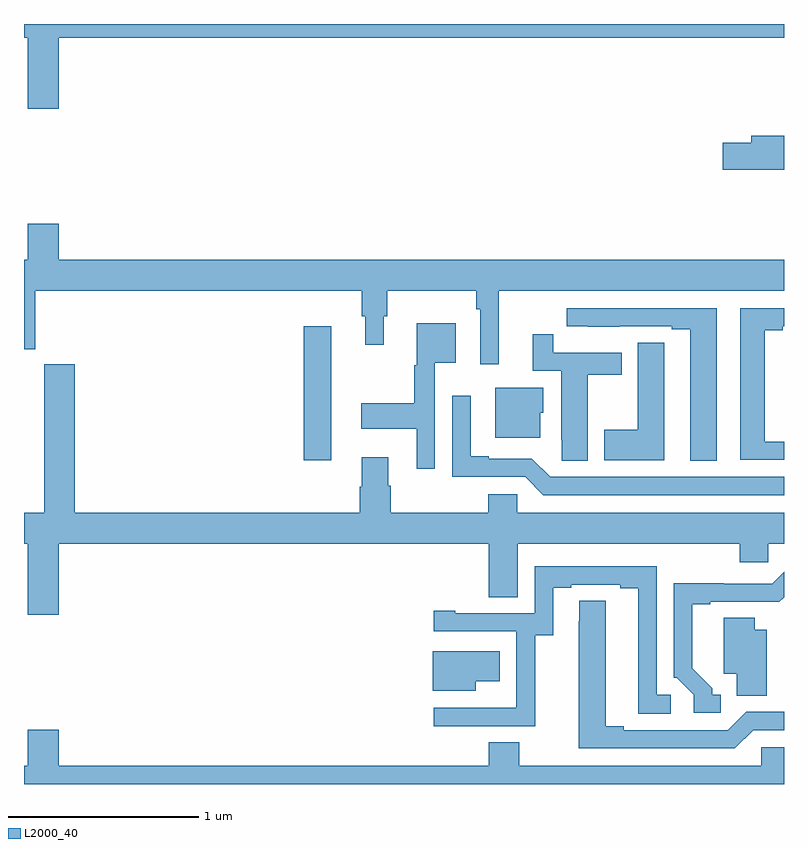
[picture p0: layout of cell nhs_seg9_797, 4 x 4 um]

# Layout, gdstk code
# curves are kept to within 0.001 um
import gdstk
lib = gdstk.Library(unit=1e-6, precision=1e-09)
def R(c, l, rs):  # rectangles x0, y0, x1, y1
    for r in rs: c.add(gdstk.rectangle(r[:2], r[2:], *l))
def P(c, l, *ps):  # polygons
    for p in ps: c.add(gdstk.Polygon(p, *l))
L2000_40 = (2000, 40)

nhs_seg9_797 = lib.new_cell('nhs_seg9_797')
R(nhs_seg9_797, L2000_40, [(154.472,1186.203,154.618,1186.909)])
P(nhs_seg9_797, L2000_40, [(153.184,1188.428),(157,1188.428),(157,1188.5),(153,1188.5),(153,1188.428),(153.02,1188.428),(153.02,1188.054),(153.184,1188.054)],
  [(157,1187.912),(156.827,1187.912),(156.827,1187.876),(156.678,1187.876),(156.678,1187.734),(157,1187.734)],
  [(155.498,1187.096),(157,1187.096),(157,1187.26),(153.184,1187.26),(153.184,1187.449),(153.02,1187.449),(153.02,1187.26),(153,1187.26),(153,1186.787),(153.058,1186.787),(153.058,1187.096),(154.777,1187.096),(154.777,1186.962),(154.796,1186.962),(154.796,1186.812),(154.894,1186.812),(154.894,1186.962),(154.913,1186.962),(154.913,1187.096),(155.38,1187.096),(155.38,1187),(155.4,1187),(155.4,1186.71),(155.498,1186.71)],
  [(157,1186.302),(156.898,1186.302),(156.898,1186.888),(156.994,1186.888),(156.994,1186.908),(157,1186.908),(157,1187.004),(156.77,1187.004),(156.77,1186.206),(157,1186.206)],
  [(156.646,1187.004),(155.856,1187.004),(155.856,1186.908),(155.968,1186.908),(155.968,1186.907),(156.134,1186.907),(156.134,1186.908),(156.41,1186.908),(156.41,1186.893),(156.506,1186.893),(156.506,1186.201),(156.646,1186.201)],
  [(155.163,1186.718),(155.272,1186.718),(155.272,1186.924),(155.066,1186.924),(155.066,1186.704),(155.055,1186.704),(155.055,1186.505),(154.776,1186.505),(154.776,1186.37),(155.066,1186.37),(155.066,1186.158),(155.163,1186.158)],
  [(155.968,1186.654),(156.145,1186.654),(156.145,1186.77),(155.786,1186.77),(155.786,1186.867),(155.678,1186.867),(155.678,1186.674),(155.828,1186.674),(155.828,1186.312),(155.829,1186.312),(155.829,1186.201),(155.968,1186.201)],
  [(156.37,1186.715),(156.369,1186.715),(156.369,1186.823),(156.23,1186.823),(156.23,1186.365),(156.053,1186.365),(156.053,1186.205),(156.37,1186.205)],
  [(155.716,1186.455),(155.734,1186.455),(155.734,1186.585),(155.48,1186.585),(155.48,1186.322),(155.716,1186.322)],
  [(157,1186.116),(155.769,1186.116),(155.673,1186.212),(155.446,1186.212),(155.446,1186.225),(155.35,1186.225),(155.35,1186.543),(155.253,1186.543),(155.253,1186.116),(155.637,1186.116),(155.733,1186.02),(157,1186.02)],
  [(155.444,1186.026),(155.444,1185.928),(154.931,1185.928),(154.931,1186.07),(154.918,1186.07),(154.918,1186.219),(154.778,1186.219),(154.778,1186.065),(154.766,1186.065),(154.766,1185.928),(153.266,1185.928),(153.266,1186.708),(153.106,1186.708),(153.106,1185.928),(153,1185.928),(153,1185.764),(153.02,1185.764),(153.02,1185.39),(153.184,1185.39),(153.184,1185.764),(155.447,1185.764),(155.447,1185.484),(155.599,1185.484),(155.599,1185.764),(156.767,1185.764),(156.767,1185.666),(156.918,1185.666),(156.918,1185.764),(157,1185.764),(157,1185.928),(155.595,1185.928),(155.595,1186.026)],
  [(155.691,1185.283),(155.785,1185.283),(155.785,1185.534),(155.881,1185.534),(155.881,1185.549),(156.137,1185.549),(156.137,1185.529),(156.233,1185.529),(156.233,1184.869),(156.403,1184.869),(156.403,1184.97),(156.33,1184.97),(156.33,1185.645),(155.688,1185.645),(155.688,1185.399),(155.269,1185.399),(155.269,1185.412),(155.157,1185.412),(155.157,1185.303),(155.592,1185.303),(155.592,1184.902),(155.591,1184.902),(155.591,1184.901),(155.157,1184.901),(155.157,1184.805),(155.691,1184.805)],
  [(156.667,1184.97),(156.622,1184.97),(156.622,1185.005),(156.517,1185.11),(156.517,1185.447),(156.613,1185.447),(156.613,1185.459),(156.974,1185.458),(157,1185.484),(157,1185.616),(156.939,1185.555),(156.683,1185.555),(156.683,1185.557),(156.42,1185.557),(156.42,1185.06),(156.435,1185.06),(156.525,1184.97),(156.525,1184.874),(156.667,1184.874)],
  [(156.837,1184.784),(157,1184.784),(157,1184.88),(156.801,1184.88),(156.705,1184.784),(156.157,1184.784),(156.157,1184.804),(156.061,1184.804),(156.061,1185.464),(155.922,1185.464),(155.921,1184.688),(156.741,1184.688)],
  [(156.91,1185.313),(156.847,1185.313),(156.847,1185.374),(156.683,1185.374),(156.683,1185.08),(156.752,1185.08),(156.752,1184.965),(156.91,1184.965)],
  [(155.377,1185.041),(155.503,1185.041),(155.503,1185.199),(155.15,1185.199),(155.15,1184.99),(155.377,1184.99)],
  [(157,1184.694),(156.879,1184.694),(156.879,1184.596),(155.607,1184.596),(155.607,1184.72),(155.447,1184.72),(155.447,1184.596),(153.184,1184.596),(153.184,1184.785),(153.02,1184.785),(153.02,1184.596),(153,1184.596),(153,1184.5),(157,1184.5)])

lib.write_gds('nhs_seg9_797.gds')
